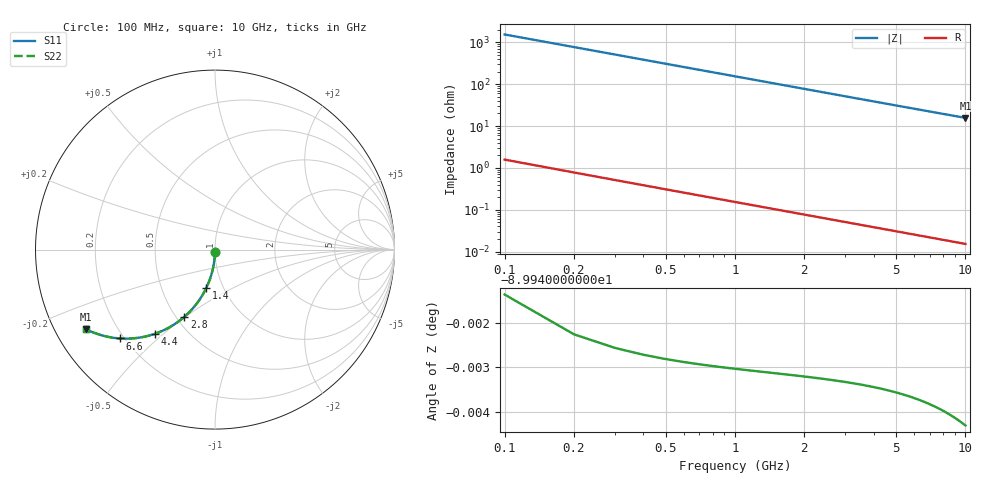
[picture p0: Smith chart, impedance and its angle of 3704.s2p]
# Hz S RI R 50.00
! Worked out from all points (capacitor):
!   100 points, 100 MHz to 10 GHz, reference 50 ohm
!   read as one part in shunt: C = 1.03 pF near 100 MHz
!   lowest |Z| = 15.7 ohm at 10 GHz (marker M1)
!   S11 on the Smith chart (normalised r, x): 100 MHz: 1.00, -0.03; 1.4 GHz: 0.83, -0.37; 2.8 GHz: 0.55, -0.50; 4.4 GHz: 0.33, -0.47; 6.6 GHz: 0.18, -0.38; 10 GHz: 0.09, -0.28
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1e8  -0.000265 -0.0161  0.9997 -0.0162  0.9997 -0.0162  -0.000265 -0.0161
2e8  -0.00107 -0.0322  0.9989 -0.0325  0.9989 -0.0325  -0.00107 -0.0322
3e8  -0.00239 -0.0483  0.9976 -0.0486  0.9976 -0.0486  -0.00239 -0.0483
4e8  -0.00423 -0.0643  0.9957 -0.0647  0.9957 -0.0647  -0.00423 -0.0643
5e8  -0.00658 -0.0802  0.9934 -0.0807  0.9934 -0.0807  -0.00658 -0.0802
6e8  -0.00943 -0.0959  0.9905 -0.0966  0.9905 -0.0966  -0.00943 -0.0959
7e8  -0.0128 -0.1115  0.9872 -0.1123  0.9872 -0.1123  -0.0128 -0.1115
9e8  -0.0209 -0.1422  0.9791 -0.1431  0.9791 -0.1431  -0.0209 -0.1422
1.1e9  -0.0309 -0.1719  0.9691 -0.1731  0.9691 -0.1731  -0.0309 -0.1719
1.4e9  -0.049 -0.2147  0.951 -0.2162  0.951 -0.2162  -0.049 -0.2147
1.8e9  -0.0784 -0.2673  0.9216 -0.2693  0.9216 -0.2693  -0.0784 -0.2673
2.3e9  -0.1217 -0.3252  0.8782 -0.3278  0.8782 -0.3278  -0.1217 -0.3252
2.8e9  -0.1702 -0.3738  0.8298 -0.3768  0.8298 -0.3768  -0.1702 -0.3738
3.4e9  -0.2319 -0.4197  0.7681 -0.4234  0.7681 -0.4234  -0.2319 -0.4197
4.4e9  -0.3352 -0.4692  0.6647 -0.474  0.6647 -0.474  -0.3352 -0.4692
5.1e9  -0.4035 -0.4873  0.5965 -0.4929  0.5965 -0.4929  -0.4035 -0.4873
5.8e9  -0.4662 -0.4951  0.5337 -0.5016  0.5337 -0.5016  -0.4662 -0.4951
6.6e9  -0.5303 -0.4949  0.4696 -0.5022  0.4696 -0.5022  -0.5303 -0.4949
6.7e9  -0.5378 -0.4943  0.4622 -0.5018  0.4622 -0.5018  -0.5378 -0.4943
7.5e9  -0.5928 -0.4866  0.4071 -0.495  0.4071 -0.495  -0.5928 -0.4866
8.4e9  -0.6458 -0.473  0.3541 -0.4824  0.3541 -0.4824  -0.6458 -0.473
1e10  -0.7206 -0.4425  0.2793 -0.4538  0.2793 -0.4538  -0.7206 -0.4425
